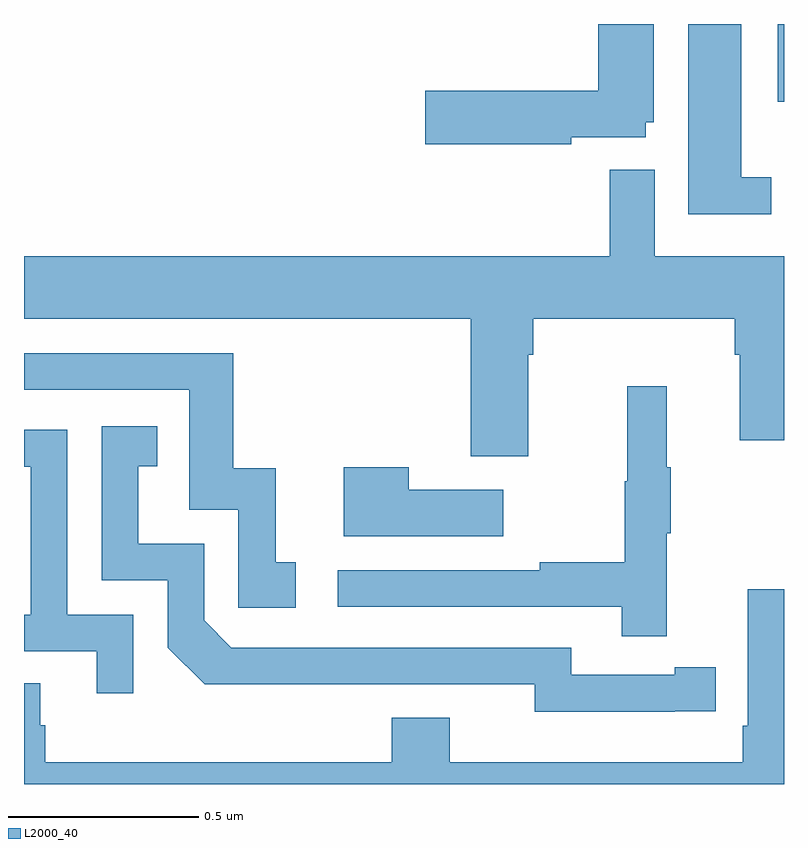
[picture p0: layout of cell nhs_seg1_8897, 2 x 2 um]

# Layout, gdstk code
import gdstk
lib = gdstk.Library(unit=1e-6, precision=1e-09)
def R(c, l, rs):  # rectangles x0, y0, x1, y1
    for r in rs: c.add(gdstk.rectangle(r[:2], r[2:], *l))
def P(c, l, *ps):  # polygons
    for p in ps: c.add(gdstk.Polygon(p, *l))
L2000_40 = (2000, 40)

nhs_seg1_8897 = lib.new_cell('nhs_seg1_8897')
R(nhs_seg1_8897, L2000_40, [(223.983,526.994,224,527.199)])
P(nhs_seg1_8897, L2000_40, [(223.44,526.901),(223.636,526.901),(223.636,526.941),(223.657,526.941),(223.657,527.199),(223.511,527.199),(223.511,527.024),(223.056,527.024),(223.056,526.882),(223.44,526.882)],
  [(223.966,526.796),(223.888,526.796),(223.888,527.199),(223.748,527.199),(223.748,526.698),(223.966,526.698)],
  [(223.327,526.328),(223.34,526.328),(223.34,526.424),(223.871,526.424),(223.871,526.328),(223.883,526.328),(223.883,526.104),(224,526.104),(224,526.588),(223.66,526.588),(223.66,526.816),(223.542,526.816),(223.542,526.588),(222,526.588),(222,526.424),(223.175,526.424),(223.175,526.062),(223.327,526.062)],
  [(222.715,525.783),(222.662,525.783),(222.662,526.03),(222.551,526.03),(222.551,526.332),(222,526.332),(222,526.236),(222.435,526.236),(222.435,525.921),(222.564,525.921),(222.564,525.663),(222.715,525.663)],
  [(223.691,525.859),(223.702,525.859),(223.702,526.033),(223.691,526.033),(223.691,526.246),(223.588,526.246),(223.588,525.996),(223.581,525.996),(223.581,525.782),(223.357,525.782),(223.357,525.762),(222.825,525.762),(222.825,525.666),(223.573,525.666),(223.573,525.588),(223.691,525.588)],
  [(223.712,525.39),(223.82,525.39),(223.82,525.506),(223.712,525.506),(223.712,525.486),(223.44,525.486),(223.44,525.558),(222.546,525.558),(222.474,525.63),(222.474,525.831),(222.301,525.831),(222.301,526.035),(222.35,526.035),(222.35,526.141),(222.204,526.141),(222.204,525.735),(222.378,525.735),(222.378,525.558),(222.476,525.461),(222.884,525.461),(222.884,525.462),(223.344,525.462),(223.344,525.389),(223.712,525.389)],
  [(222.288,525.645),(222.114,525.645),(222.114,526.131),(222,526.131),(222,526.034),(222.018,526.034),(222.018,525.645),(222,525.645),(222,525.549),(222.191,525.549),(222.191,525.438),(222.288,525.438)],
  [(223.261,525.973),(223.013,525.973),(223.013,526.033),(222.842,526.033),(222.842,525.851),(223.261,525.851)],
  [(224,525.712),(223.905,525.712),(223.905,525.352),(223.892,525.352),(223.892,525.256),(223.12,525.256),(223.12,525.373),(222.968,525.373),(222.968,525.256),(222.056,525.256),(222.056,525.354),(222.043,525.354),(222.043,525.464),(222,525.464),(222,525.199),(224,525.199)])

lib.write_gds('nhs_seg1_8897.gds')
